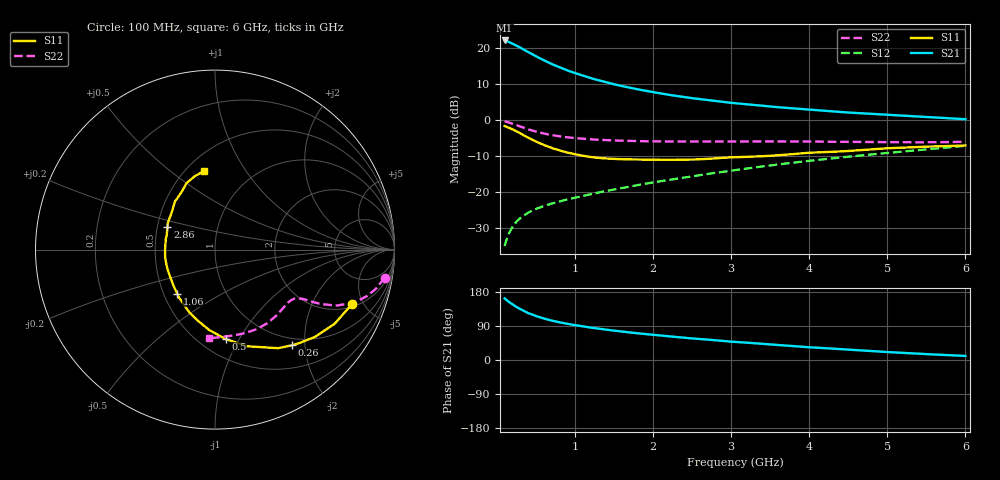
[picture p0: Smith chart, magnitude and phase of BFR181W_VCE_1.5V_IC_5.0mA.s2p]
! Infineon Technologies  Discrete & RF Semiconductors
! BFR181W
! VCE =  1.5 V,  IC =  5.0 mA
! Common Emitter S-Parameters:  Nov 2015
# GHz  S  MA  R  50
!  f  S11  S21  S12  S22
! GHz  MAG  ANG  MAG  ANG  MAG  ANG  MAG  ANG
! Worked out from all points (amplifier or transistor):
!   192 points, 100 MHz to 6 GHz, reference 50 ohm
!   highest |S21| = 22.1 dB at 100 MHz (marker M1)
!   |S21| within 3 dB of that: start of sweep to 381.4 MHz
!   unconditionally stable (mu >= 1): 1.3 GHz to 3.228 GHz
!   at 440 MHz: K = 0.53, MSG = 21.9 dB, |S12| = -25.4 dB
!   at 1.7 GHz: K = 1.06, MAG = 12.3 dB, |S12| = -18.6 dB
!   at 6 GHz: K = 0.79, MSG = 3.7 dB, |S12| = -7.2 dB
!   S11 on the Smith chart (normalised r, x): 100 MHz: 2.19, -4.10; 260 MHz: 0.87, -1.75; 500 MHz: 0.66, -0.88; 1.06 GHz: 0.59, -0.32; 2.86 GHz: 0.57, +0.16; 6 GHz: 0.61, +0.66
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0.1  0.8215 -21.7  12.8 162.4  0.0174 78.2  0.9574 -9.4
0.155  0.7789 -32.7  12.2 153.3  0.0262 73.6  0.9205 -13.8
0.2  0.7403 -41.0  11.61 146.7  0.032 69.9  0.887 -16.9
0.26  0.6848 -51.1  10.74 138.9  0.039 65.7  0.8389 -20.1
0.3  0.652 -57.4  10.16 134.1  0.0428 63.6  0.8092 -21.9
0.4  0.5676 -71.6  8.844 123.9  0.0509 59.8  0.7408 -24.9
0.5  0.5015 -83.3  7.716 116.1  0.0575 57.9  0.6867 -26.5
0.6  0.4501 -93.9  6.797 109.6  0.0631 57.0  0.6457 -27.6
0.7  0.4081 -103.4  6.03 104.1  0.068 56.8  0.615 -28.2
0.8  0.3777 -112.3  5.431 99.5  0.0728 57.0  0.5911 -28.7
0.9  0.3515 -119.7  4.902 95.5  0.0778 57.6  0.5728 -29.0
1.06  0.3232 -130.7  4.287 90.2  0.0854 58.6  0.5515 -29.7
1.1  0.3171 -133.3  4.151 89.0  0.0874 58.9  0.547 -29.9
1.2  0.3046 -140.1  3.821 85.5  0.0923 59.5  0.5358 -30.4
1.5  0.2866 -156.9  3.138 77.5  0.1072 61.2  0.5167 -32.2
1.8  0.2812 -171.1  2.673 70.5  0.1234 62.8  0.5059 -34.4
2.08  0.2775 178.3  2.357 64.8  0.1389 63.9  0.5018 -37.0
2.86  0.2936 154.5  1.804 51.0  0.1868 64.9  0.5011 -45.7
3.1  0.3032 148.8  1.69 47.1  0.203 64.7  0.5016 -48.8
4.1  0.3522 127.8  1.365 32.5  0.2764 61.9  0.4987 -63.5
5.1  0.4065 111.6  1.166 19.9  0.3548 57.2  0.4884 -79.5
6  0.4407 98.3  1.023 10.8  0.4354 51.9  0.4956 -93.8
